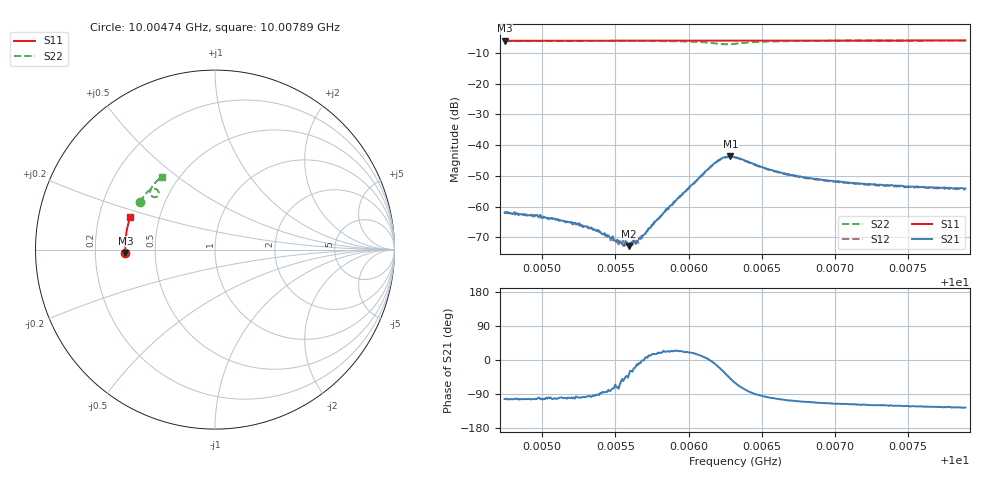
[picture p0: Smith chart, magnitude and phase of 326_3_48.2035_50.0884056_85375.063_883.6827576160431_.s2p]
#  HZ  S  RI  R  50.00
! Rohde & Schwarz Vector Network Analyzer
! Rohde-Schwarz,ZNB20-2Port,1311601062101988,3.16
! Created: UTC 3/20/2024, 11:50:42 AM
! freq[Hz]  re:S11  im:S11  re:S21  im:S21  re:S12  im:S12  re:S22  im:S22
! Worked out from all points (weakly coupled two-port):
!   401 points, 10.00474 GHz to 10.00789 GHz, reference 50 ohm
!   highest |S21| = -43.70 dB at 10.00629 GHz (marker M1); lowest = -72.9 dB at 10.00559 GHz (marker M2)
!   lowest |S11| = -6.0 dB at 10.00474 GHz (marker M3), VSWR 2.99, Z = 16.7 - j0.835 ohm
!   |S11| at or under -10 dB: nowhere
!   |S22| runs from -7.2 to -6.0 dB; largest |S21 - S12| = 0.0004
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1.0004742e10  -0.4987 -0.0188  -0.000177 -0.000779  -0.000149 -0.000798  -0.4179 0.2626
1.0004971e10  -0.4996 -0.00397  -0.000122 -0.000675  -9.32e-05 -0.000692  -0.41 0.2763
1.0005136e10  -0.5 0.00675  -9.44e-05 -0.000578  -9.69e-05 -0.000578  -0.4038 0.2861
1.0005231e10  -0.4998 0.0129  -5.62e-05 -0.000531  -4.25e-05 -0.000502  -0.4 0.2917
1.000527e10  -0.5 0.0155  -7.78e-05 -0.000491  -4.95e-05 -0.000481  -0.3984 0.2939
1.000538e10  -0.4998 0.0226  -5.05e-06 -0.000415  -1.08e-05 -0.0004  -0.3937 0.3006
1.0005514e10  -0.4998 0.0312  8.87e-05 -0.000274  0.000116 -0.00023  -0.3874 0.3089
1.0005546e10  -0.4995 0.0333  0.000161 -0.000192  0.000142 -0.000199  -0.3858 0.3108
1.0005593e10  -0.4995 0.0365  0.000181 -0.000137  0.000191 -0.000132  -0.3834 0.3137
1.0005648e10  -0.4994 0.04  0.00026 -4.93e-05  0.000279 -4.31e-05  -0.3804 0.3172
1.0005688e10  -0.4992 0.0425  0.000334 -6.37e-06  0.000334 2.13e-05  -0.3779 0.3197
1.0005798e10  -0.4987 0.0496  0.000611 0.0002  0.000593 0.000243  -0.3703 0.3268
1.0005861e10  -0.4983 0.0538  0.000828 0.000363  0.00083 0.000369  -0.3654 0.3308
1.0006168e10  -0.4961 0.0735  0.00481 -0.000544  0.00473 -0.000307  -0.3176 0.3281
1.0006231e10  -0.4956 0.0774  0.0054 -0.00287  0.00542 -0.00257  -0.3143 0.3077
1.0006286e10  -0.4951 0.0806  0.00426 -0.00495  0.0044 -0.00467  -0.3277 0.2933
1.0006318e10  -0.495 0.0826  0.00318 -0.00552  0.00339 -0.00524  -0.338 0.2918
1.0006593e10  -0.4926 0.1002  -0.000767 -0.00367  -0.000625 -0.00364  -0.3597 0.3316
1.0006845e10  -0.4898 0.1162  -0.00104 -0.00266  -0.000928 -0.00265  -0.3486 0.3534
1.0007129e10  -0.4857 0.1342  -0.00108 -0.00217  -0.000985 -0.00213  -0.3347 0.3708
1.0007373e10  -0.4818 0.1494  -0.00115 -0.00189  -0.001 -0.00193  -0.3224 0.3835
1.0007893e10  -0.4719 0.1813  -0.00114 -0.0016  -0.00103 -0.00158  -0.2961 0.4072
